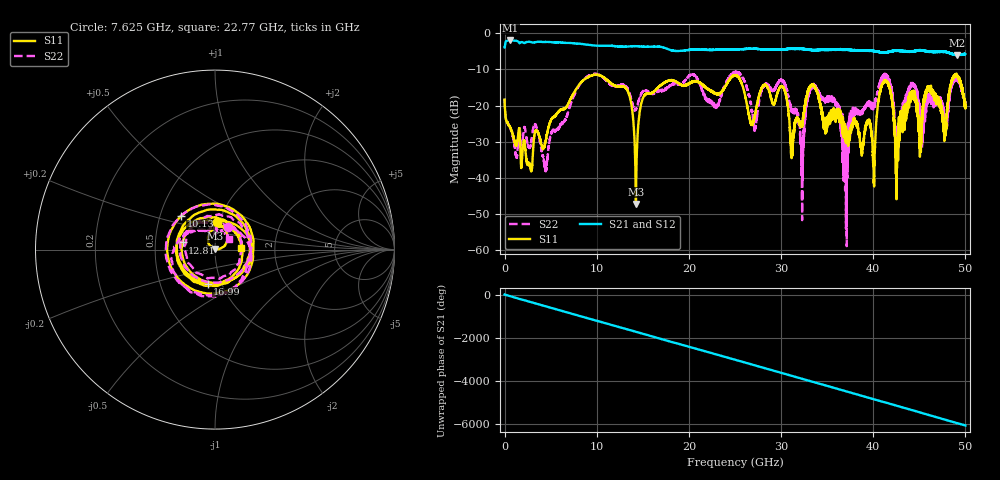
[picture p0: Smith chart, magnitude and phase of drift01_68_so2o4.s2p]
!Created with skrf (http://scikit-rf.org).
# Hz S RI R 50.0
!freq ReS11 ImS11 ReS21 ImS21 ReS12 ImS12 ReS22 ImS22
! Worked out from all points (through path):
!   10001 points, 300 kHz to 50 GHz, reference 50 ohm
!   highest |S21| = -2.00 dB at 625.3 MHz (marker M1); lowest = -6.1 dB at 49.07 GHz (marker M2)
!   group delay of S21, straight-line fit = 336 ps
!   lowest |S11| = -47.2 dB at 14.25 GHz (marker M3), VSWR 1.01, Z = 50 + j0.435 ohm
!   |S11| at or under -10 dB: start of sweep to end of sweep
!   |S22| runs from -58.9 to -10.6 dB; largest |S21 - S12| = 0.022
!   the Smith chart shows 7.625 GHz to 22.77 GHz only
!   S11 on the Smith chart (normalised r, x): 7.625 GHz: 0.97, +0.31; 10.13 GHz: 0.64, +0.26; 12.81 GHz: 0.69, +0.06; 16.99 GHz: 0.86, -0.34; 22.77 GHz: 1.34, +0.03
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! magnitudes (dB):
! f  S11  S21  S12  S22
! 300 kHz  -18.4  -4.0  -4.1  -18.1
! 625.3 MHz  -26.1  -2.0  -2.0  -26.1
! 4.445 GHz  -29.8  -2.4  -2.4  -37.5
! 7.625 GHz  -16.1  -2.8  -2.8  -16.7
! 8.335 GHz  -13.5  -3.0  -3.0  -13.5
! 10.13 GHz  -11.5  -3.4  -3.5  -11.4
! 12.81 GHz  -14.7  -3.7  -3.7  -14.2
! 14.25 GHz  -47.2  -3.6  -3.6  -21.1
! 16.67 GHz  -14.9  -3.7  -3.7  -15.9
! 16.99 GHz  -14.3  -3.8  -3.8  -15.8
! 22.77 GHz  -16.6  -4.6  -4.6  -20.2
! 25 GHz  -11.6  -4.5  -4.5  -10.9
! 27.17 GHz  -22.5  -4.3  -4.3  -25.8
! 30.22 GHz  -14.9  -4.5  -4.5  -13.6
! 32.28 GHz  -24.9  -4.3  -4.4  -44.1
! 33.34 GHz  -14.3  -4.6  -4.6  -15.1
! 36.99 GHz  -30.0  -4.6  -4.5  -29.2
! 40.05 GHz  -38.8  -4.9  -4.9  -19.9
! 41.67 GHz  -14.0  -5.1  -5.1  -13.1
! 42.6 GHz  -30.0  -4.8  -4.8  -31.9
! 49.07 GHz  -11.7  -6.1  -6.0  -12.8
! 50 GHz  -19.9  -5.8  -5.8  -19.3
